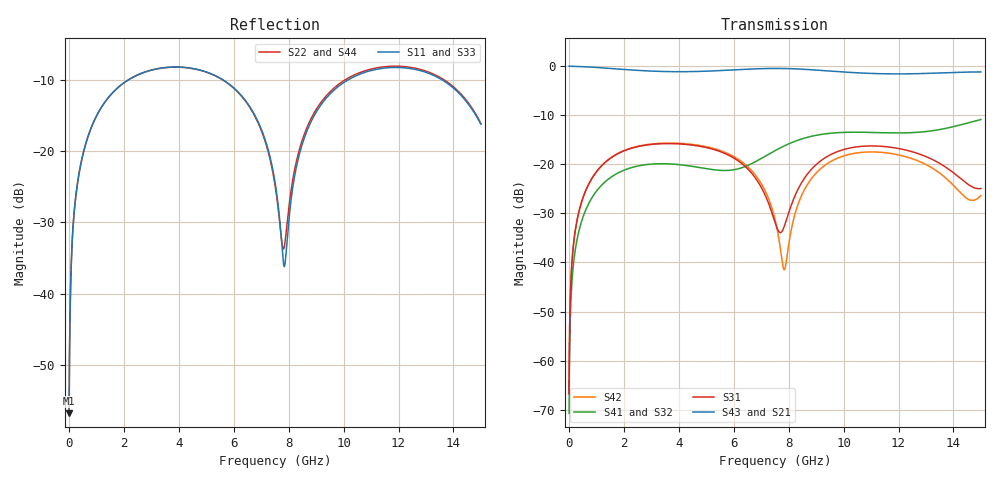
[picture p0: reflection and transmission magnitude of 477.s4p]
! Created with skrf 1.8.0 (http://scikit-rf.org).
# GHz S RI R 50.0
!freq ReS11 ImS11 ReS12 ImS12 ReS13 ImS13
! ReS14 ImS14
! ReS21 ImS21 ReS22 ImS22 ReS23 ImS23
! ReS24 ImS24
! ReS31 ImS31 ReS32 ImS32 ReS33 ImS33
! ReS34 ImS34
! ReS41 ImS41 ReS42 ImS42 ReS43 ImS43
! ReS44 ImS44
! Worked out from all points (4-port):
!   2499 points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, 5 MHz to 15 GHz, reference 50 ohm
!   strongest paths, dB at 5 MHz, 3.476 GHz, 7.19 GHz, 11.1 GHz, 15 GHz:
!     S43: 0.0, -1.1, -0.5, -1.5, -1.2
!     S21: 0.0, -1.1, -0.5, -1.5, -1.2
!     S31: -66.7, -15.8, -26.9, -16.3, -24.9
!     S41: -70.7, -19.9, -18.2, -13.5, -10.9
!     S32: -70.7, -19.9, -18.2, -13.6, -10.9
!     S42: -66.7, -15.7, -26.0, -17.5, -26.4
!   lowest |S11| = -56.8 dB at 5 MHz (marker M1), VSWR 1.00, Z = 50.1 + j0.0873 ohm
!   |S11| at or under -10 dB: start of sweep to 2.139 GHz; 5.632 GHz to 10.14 GHz (4.507 GHz wide, 57.2 % of centre); 13.61 GHz to end of sweep
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0.005  0.00115 0.000871  0.9988 -0.00223  5.63e-05 0.000457  -5.48e-05 -0.000285
       0.9988 -0.00223  0.00115 0.000871  -5.48e-05 -0.000285  5.64e-05 0.000457
       5.63e-05 0.000457  -5.48e-05 -0.000285  0.00115 0.000871  0.9988 -0.00223
       -5.48e-05 -0.000285  5.64e-05 0.000457  0.9988 -0.00223  0.00115 0.000871
0.4126719  0.02 0.0756  0.9725 -0.1833  0.00929 0.0361  -0.00778 -0.0224
           0.9725 -0.1833  0.0199 0.0756  -0.00777 -0.0224  0.00947 0.0361
           0.00929 0.0361  -0.00777 -0.0224  0.02 0.0756  0.9725 -0.1833
           -0.00778 -0.0224  0.00947 0.0361  0.9725 -0.1833  0.0199 0.0756
2.075865  0.2486 0.1861  0.5941 -0.7039  0.1208 0.07  -0.0877 -0.0131
          0.5941 -0.7039  0.2479 0.1865  -0.0875 -0.0133  0.1233 0.0669
          0.1208 0.07  -0.0875 -0.0133  0.2487 0.186  0.5941 -0.7039
          -0.0877 -0.0131  0.1233 0.0669  0.5941 -0.7039  0.2478 0.1866
6.058774  0.1985 -0.1876  -0.6268 -0.6704  0.0778 -0.0824  -0.0339 0.0818
          -0.6268 -0.6704  0.2003 -0.1831  -0.0354 0.08  0.0619 -0.0996
          0.0778 -0.0824  -0.0354 0.08  0.1988 -0.1892  -0.6266 -0.6703
          -0.0339 0.0818  0.0619 -0.0996  -0.6266 -0.6703  0.2016 -0.1828
7.99083  0.0172 0.0251  -0.943 -0.00637  0.0274 0.0153  0.00613 0.1608
         -0.943 -0.00637  0.0228 0.0306  0.0019 0.1608  -0.00375 0.014
         0.0274 0.0153  0.0019 0.1608  0.016 0.0229  -0.9431 -0.00687
         0.00613 0.1608  -0.00375 0.014  -0.9431 -0.00687  0.0241 0.0283
10.25427  0.2754 0.1735  -0.5354 0.6744  0.1468 -0.00693  0.1919 0.0903
          -0.5354 0.6744  0.2869 0.1721  0.1882 0.0953  0.1261 0.0159
          0.1468 -0.00693  0.1882 0.0953  0.2733 0.1723  -0.5362 0.6753
          0.1919 0.0903  0.1261 0.0159  -0.5362 0.6753  0.2842 0.1694
15  0.1077 -0.1116  0.7796 0.3898  -0.0554 0.0119  0.1206 -0.2592
    0.7796 0.3898  0.1014 -0.1201  0.1329 -0.2534  -0.0422 0.0228
    -0.0554 0.0119  0.1329 -0.2534  0.1024 -0.1052  0.7827 0.3861
    0.1206 -0.2592  -0.0422 0.0228  0.7827 0.3861  0.0986 -0.1138
